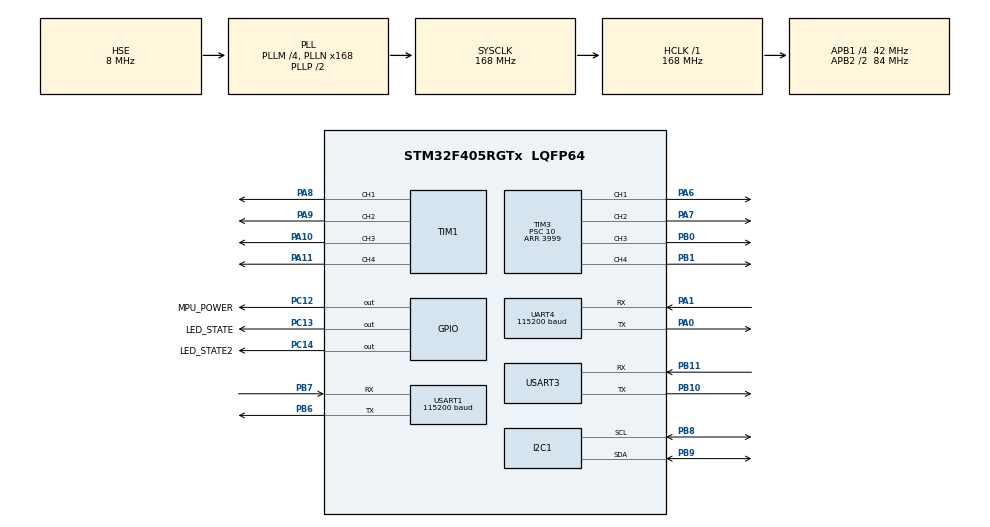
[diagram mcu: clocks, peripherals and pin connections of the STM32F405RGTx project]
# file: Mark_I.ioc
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Dma.I2C1_RX.4.Direction=DMA_PERIPH_TO_MEMORY
Dma.I2C1_RX.4.FIFOMode=DMA_FIFOMODE_DISABLE
Dma.I2C1_RX.4.Instance=DMA1_Stream0
Dma.I2C1_RX.4.MemDataAlignment=DMA_MDATAALIGN_BYTE
Dma.I2C1_RX.4.MemInc=DMA_MINC_ENABLE
Dma.I2C1_RX.4.Mode=DMA_NORMAL
Dma.I2C1_RX.4.PeriphDataAlignment=DMA_PDATAALIGN_BYTE
Dma.I2C1_RX.4.PeriphInc=DMA_PINC_DISABLE
Dma.I2C1_RX.4.Priority=DMA_PRIORITY_LOW
Dma.I2C1_TX.5.Direction=DMA_MEMORY_TO_PERIPH
Dma.I2C1_TX.5.FIFOMode=DMA_FIFOMODE_DISABLE
Dma.I2C1_TX.5.Instance=DMA1_Stream6
Dma.I2C1_TX.5.MemDataAlignment=DMA_MDATAALIGN_BYTE
Dma.I2C1_TX.5.MemInc=DMA_MINC_ENABLE
Dma.I2C1_TX.5.Mode=DMA_NORMAL
Dma.I2C1_TX.5.PeriphDataAlignment=DMA_PDATAALIGN_BYTE
Dma.I2C1_TX.5.PeriphInc=DMA_PINC_DISABLE
Dma.I2C1_TX.5.Priority=DMA_PRIORITY_LOW
Dma.Request0=UART4_RX
Dma.Request1=UART4_TX
Dma.Request2=USART1_RX
Dma.Request3=USART1_TX
Dma.Request4=I2C1_RX
Dma.Request5=I2C1_TX
Dma.Request6=USART3_RX
Dma.Request7=USART3_TX
Dma.UART4_RX.0.Direction=DMA_PERIPH_TO_MEMORY
Dma.UART4_RX.0.FIFOMode=DMA_FIFOMODE_DISABLE
Dma.UART4_RX.0.Instance=DMA1_Stream2
Dma.UART4_RX.0.MemDataAlignment=DMA_MDATAALIGN_BYTE
Dma.UART4_RX.0.MemInc=DMA_MINC_ENABLE
Dma.UART4_RX.0.Mode=DMA_CIRCULAR
Dma.UART4_RX.0.PeriphDataAlignment=DMA_PDATAALIGN_BYTE
Dma.UART4_RX.0.PeriphInc=DMA_PINC_DISABLE
Dma.UART4_RX.0.Priority=DMA_PRIORITY_LOW
Dma.UART4_TX.1.Direction=DMA_MEMORY_TO_PERIPH
Dma.UART4_TX.1.FIFOMode=DMA_FIFOMODE_DISABLE
Dma.UART4_TX.1.Instance=DMA1_Stream4
Dma.UART4_TX.1.MemDataAlignment=DMA_MDATAALIGN_BYTE
Dma.UART4_TX.1.MemInc=DMA_MINC_ENABLE
Dma.UART4_TX.1.Mode=DMA_NORMAL
Dma.UART4_TX.1.PeriphDataAlignment=DMA_PDATAALIGN_BYTE
Dma.UART4_TX.1.PeriphInc=DMA_PINC_DISABLE
Dma.UART4_TX.1.Priority=DMA_PRIORITY_LOW
Dma.USART1_RX.2.Direction=DMA_PERIPH_TO_MEMORY
Dma.USART1_RX.2.FIFOMode=DMA_FIFOMODE_DISABLE
Dma.USART1_RX.2.Instance=DMA2_Stream2
Dma.USART1_RX.2.MemDataAlignment=DMA_MDATAALIGN_BYTE
Dma.USART1_RX.2.MemInc=DMA_MINC_ENABLE
Dma.USART1_RX.2.Mode=DMA_CIRCULAR
Dma.USART1_RX.2.PeriphDataAlignment=DMA_PDATAALIGN_BYTE
Dma.USART1_RX.2.PeriphInc=DMA_PINC_DISABLE
Dma.USART1_RX.2.Priority=DMA_PRIORITY_LOW
Dma.USART1_TX.3.Direction=DMA_MEMORY_TO_PERIPH
Dma.USART1_TX.3.FIFOMode=DMA_FIFOMODE_DISABLE
Dma.USART1_TX.3.Instance=DMA2_Stream7
Dma.USART1_TX.3.MemDataAlignment=DMA_MDATAALIGN_BYTE
Dma.USART1_TX.3.MemInc=DMA_MINC_ENABLE
Dma.USART1_TX.3.Mode=DMA_NORMAL
Dma.USART1_TX.3.PeriphDataAlignment=DMA_PDATAALIGN_BYTE
Dma.USART1_TX.3.PeriphInc=DMA_PINC_DISABLE
Dma.USART1_TX.3.Priority=DMA_PRIORITY_LOW
Dma.USART3_RX.6.Direction=DMA_PERIPH_TO_MEMORY
Dma.USART3_RX.6.FIFOMode=DMA_FIFOMODE_DISABLE
Dma.USART3_RX.6.Instance=DMA1_Stream1
Dma.USART3_RX.6.MemDataAlignment=DMA_MDATAALIGN_BYTE
Dma.USART3_RX.6.MemInc=DMA_MINC_ENABLE
Dma.USART3_RX.6.Mode=DMA_CIRCULAR
Dma.USART3_RX.6.PeriphDataAlignment=DMA_PDATAALIGN_BYTE
Dma.USART3_RX.6.PeriphInc=DMA_PINC_DISABLE
Dma.USART3_RX.6.Priority=DMA_PRIORITY_LOW
Dma.USART3_TX.7.Direction=DMA_MEMORY_TO_PERIPH
Dma.USART3_TX.7.FIFOMode=DMA_FIFOMODE_DISABLE
Dma.USART3_TX.7.Instance=DMA1_Stream3
Dma.USART3_TX.7.MemDataAlignment=DMA_MDATAALIGN_BYTE
Dma.USART3_TX.7.MemInc=DMA_MINC_ENABLE
Dma.USART3_TX.7.Mode=DMA_NORMAL
Dma.USART3_TX.7.PeriphDataAlignment=DMA_PDATAALIGN_BYTE
Dma.USART3_TX.7.PeriphInc=DMA_PINC_DISABLE
Dma.USART3_TX.7.Priority=DMA_PRIORITY_LOW
I2C1.I2C_Mode=I2C_Fast
Mcu.Family=STM32F4
Mcu.Name=STM32F405RGTx
Mcu.Package=LQFP64
NVIC.DMA1_Stream0_IRQn=true\:0\:0\:false\:false\:true\:false\:true\:true
NVIC.DMA1_Stream1_IRQn=true\:0\:0\:false\:false\:true\:false\:true\:true
NVIC.DMA1_Stream2_IRQn=true\:0\:0\:false\:false\:true\:false\:true\:true
NVIC.DMA1_Stream3_IRQn=true\:0\:0\:false\:false\:true\:false\:true\:true
NVIC.DMA1_Stream4_IRQn=true\:0\:0\:false\:false\:true\:false\:true\:true
NVIC.DMA1_Stream6_IRQn=true\:0\:0\:false\:false\:true\:false\:true\:true
NVIC.DMA2_Stream2_IRQn=true\:0\:0\:false\:false\:true\:false\:true\:true
NVIC.DMA2_Stream7_IRQn=true\:0\:0\:false\:false\:true\:false\:true\:true
NVIC.I2C1_ER_IRQn=true\:0\:0\:false\:false\:true\:true\:true\:true
NVIC.I2C1_EV_IRQn=true\:0\:0\:false\:false\:true\:true\:true\:true
NVIC.PriorityGroup=NVIC_PRIORITYGROUP_4
NVIC.UART4_IRQn=true\:0\:0\:false\:false\:true\:true\:true\:true
NVIC.USART1_IRQn=true\:0\:0\:false\:false\:true\:true\:true\:true
NVIC.USART3_IRQn=true\:0\:0\:false\:false\:true\:true\:true\:true
PA0-WKUP.Mode=Asynchronous
PA0-WKUP.Signal=UART4_TX
PA1.Mode=Asynchronous
PA1.Signal=UART4_RX
PA10.Signal=S_TIM1_CH3
PA11.Signal=S_TIM1_CH4
PA13.Mode=Trace_Asynchronous_SW
PA13.Signal=SYS_JTMS-SWDIO
PA14.Mode=Trace_Asynchronous_SW
PA14.Signal=SYS_JTCK-SWCLK
PA6.Signal=S_TIM3_CH1
PA7.Signal=S_TIM3_CH2
PA8.Signal=S_TIM1_CH1
PA9.Signal=S_TIM1_CH2
PB0.Signal=S_TIM3_CH3
PB1.Signal=S_TIM3_CH4
PB10.Mode=Asynchronous
PB10.Signal=USART3_TX
PB11.Mode=Asynchronous
PB11.Signal=USART3_RX
PB3.Mode=Trace_Asynchronous_SW
PB3.Signal=SYS_JTDO-SWO
PB6.Mode=Asynchronous
PB6.Signal=USART1_TX
PB7.Mode=Asynchronous
PB7.Signal=USART1_RX
PB8.Mode=I2C
PB8.Signal=I2C1_SCL
PB9.Mode=I2C
PB9.Signal=I2C1_SDA
PC12.GPIO_Label=MPU_POWER
PC12.Signal=GPIO_Output
PC13-ANTI_TAMP.GPIO_Label=LED_STATE
PC13-ANTI_TAMP.Signal=GPIO_Output
PC14-OSC32_IN.GPIO_Label=LED_STATE2
PC14-OSC32_IN.Signal=GPIO_Output
PH0-OSC_IN.Mode=HSE-External-Oscillator
PH0-OSC_IN.Signal=RCC_OSC_IN
PH1-OSC_OUT.Mode=HSE-External-Oscillator
PH1-OSC_OUT.Signal=RCC_OSC_OUT
ProjectManager.HeapSize=0x200
ProjectManager.StackSize=0x400
ProjectManager.TargetToolchain=STM32CubeIDE
RCC.48MHZClocksFreq_Value=84000000
RCC.AHBFreq_Value=168000000
RCC.APB1CLKDivider=RCC_HCLK_DIV4
RCC.APB1Freq_Value=42000000
RCC.APB1TimFreq_Value=84000000
RCC.APB2CLKDivider=RCC_HCLK_DIV2
RCC.APB2Freq_Value=84000000
RCC.APB2TimFreq_Value=168000000
RCC.CortexFreq_Value=168000000
RCC.EnbaleCSS=true
RCC.HCLKFreq_Value=168000000
RCC.HSE_VALUE=8000000
RCC.HSI_VALUE=16000000
RCC.LSE_VALUE=32768
RCC.PLLM=4
RCC.PLLN=168
RCC.PLLSourceVirtual=RCC_PLLSOURCE_HSE
RCC.SYSCLKFreq_VALUE=168000000
RCC.SYSCLKSource=RCC_SYSCLKSOURCE_PLLCLK
RCC.VCOOutputFreq_Value=336000000
SH.S_TIM1_CH1.0=TIM1_CH1,PWM Generation1 CH1
SH.S_TIM1_CH2.0=TIM1_CH2,PWM Generation2 CH2
SH.S_TIM1_CH3.0=TIM1_CH3,PWM Generation3 CH3
SH.S_TIM1_CH4.0=TIM1_CH4,PWM Generation4 CH4
SH.S_TIM3_CH1.0=TIM3_CH1,PWM Generation1 CH1
SH.S_TIM3_CH2.0=TIM3_CH2,PWM Generation2 CH2
SH.S_TIM3_CH3.0=TIM3_CH3,PWM Generation3 CH3
SH.S_TIM3_CH4.0=TIM3_CH4,PWM Generation4 CH4
TIM1.Channel-PWM\ Generation1\ CH1=TIM_CHANNEL_1
TIM1.Channel-PWM\ Generation2\ CH2=TIM_CHANNEL_2
TIM1.Channel-PWM\ Generation3\ CH3=TIM_CHANNEL_3
TIM1.Channel-PWM\ Generation4\ CH4=TIM_CHANNEL_4
TIM10.AutoReloadPreload=TIM_AUTORELOAD_PRELOAD_ENABLE
TIM10.Prescaler=167
TIM11.AutoReloadPreload=TIM_AUTORELOAD_PRELOAD_ENABLE
TIM11.Prescaler=167
TIM3.AutoReloadPreload=TIM_AUTORELOAD_PRELOAD_ENABLE
TIM3.Channel-PWM\ Generation1\ CH1=TIM_CHANNEL_1
TIM3.Channel-PWM\ Generation2\ CH2=TIM_CHANNEL_2
TIM3.Channel-PWM\ Generation3\ CH3=TIM_CHANNEL_3
TIM3.Channel-PWM\ Generation4\ CH4=TIM_CHANNEL_4
TIM3.OCMode_PWM-PWM\ Generation2\ CH2=TIM_OCMODE_PWM1
TIM3.OCMode_PWM-PWM\ Generation3\ CH3=TIM_OCMODE_PWM1
TIM3.Period=3999
TIM3.Prescaler=10
TIM3.Pulse-PWM\ Generation1\ CH1=999
TIM3.Pulse-PWM\ Generation2\ CH2=999
TIM3.Pulse-PWM\ Generation3\ CH3=999
TIM3.Pulse-PWM\ Generation4\ CH4=999
TIM9.AutoReloadPreload=TIM_AUTORELOAD_PRELOAD_ENABLE
TIM9.Prescaler=167
UART4.BaudRate=115200
UART4.VirtualMode=Asynchronous
USART1.BaudRate=115200
USART1.VirtualMode=VM_ASYNC
USART3.VirtualMode=VM_ASYNC
VP_TIM10_VS_ClockSourceINT.Mode=Enable_Timer
VP_TIM11_VS_ClockSourceINT.Mode=Enable_Timer
VP_TIM1_VS_ClockSourceINT.Mode=Internal
VP_TIM3_VS_ClockSourceINT.Mode=Internal
VP_TIM9_VS_ClockSourceINT.Mode=Internal
board=custom

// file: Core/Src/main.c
/* USER CODE BEGIN Header */
/**
  ******************************************************************************
  * @file           : main.c
  * @brief          : Main program body
  ******************************************************************************
  * @attention
  *
  * <h2><center>&copy; Copyright (c) 2021 STMicroelectronics.
  * All rights reserved.</center></h2>
  *
  * This software component is licensed by ST under BSD 3-Clause license,
  * the "License"; You may not use this file except in compliance with the
  * License. You may obtain a copy of the License at:
  *                        opensource.org/licenses/BSD-3-Clause
  *
  ******************************************************************************
  */
/* USER CODE END Header */
#include "main.h"
#include "dma.h"
#include "i2c.h"
#include "tim.h"
#include "usart.h"
#include "gpio.h"

/* USER CODE BEGIN Includes */
#include "../Peripherals/Uart.h"
#include "../Data_Logger/Data_logger.h"
#include "../Sensors/Mpu.h"
#include "../Complementary_Filter/Complementary_Filter.h"
#include "../Radio/Radio.h"
#include "../Peripherals/Timer.h"
#include "../Motors/Motors.h"
#include "../Task_Manager/Task_Manager.h"
#include "../Controller/Controller.h"
#include "../High_Level/High_Level.h"
#include "../Led/Led.h"
#include "../Supervisor/Supervisor.h"
#include "../System/Orientation.h"
/* USER CODE END Includes */

void SystemClock_Config(void);

int main(void)
{

  /* MCU Configuration--------------------------------------------------------*/

  /* Reset of all peripherals, Initializes the Flash interface and the Systick. */
  HAL_Init();

  /* Configure the system clock */
  SystemClock_Config();

  /* Initialize all configured peripherals */
  MX_GPIO_Init();
  MX_DMA_Init();
  MX_UART4_Init();
  MX_USART1_UART_Init();
  MX_TIM3_Init();
  MX_I2C1_Init();
  MX_USART3_UART_Init();
  MX_TIM1_Init();
  MX_TIM9_Init();
  MX_TIM10_Init();
  MX_TIM11_Init();
  /* USER CODE BEGIN 2 */
  /* Wait for everyone to start */
  HAL_Delay(15);
  /* Peripherals initialization */
  UART_Init();
  /* Task definition 	Name						Init process					Main process						1ms it process						Gyro data callback process */
  TASK_MANAGER_Add_Task("Gyro", 					MPU_Init, 						NULL, 								MPU_Process_Ms,  					NULL);
  TASK_MANAGER_Add_Task("Orientation", 				ORIENTATION_Init, 				NULL, 								ORIENTATION_Process_Ms,				ORIENTATION_Process_Gyro_Callback);
  TASK_MANAGER_Add_Task("ComplementaryFilter", 		COMPLEMENTARY_FILTER_Init, 		NULL, 								NULL,								COMPLEMENTARY_FILTER_Process);
  TASK_MANAGER_Add_Task("Controller", 				CONTROLLER_Init, 				NULL, 								CONTROLLER_Process_ms, 				CONTROLLER_Process_Gyro);
  TASK_MANAGER_Add_Task("Motors",					MOTOR_Init, 					NULL,								MOTOR_Process_Ms, 					MOTOR_Process_Gyro);
  TASK_MANAGER_Add_Task("Radio", 					RADIO_Process_Init, 			RADIO_Process_Main, 				NULL, 								NULL);
  TASK_MANAGER_Add_Task("Data Logger", 				DATA_LOGGER_Init, 				DATA_LOGGER_Main, 					NULL, 								NULL);
  TASK_MANAGER_Add_Task("High Level", 				HIGH_LEVEL_Init, 				HIGH_LEVEL_Process_Main, 			HIGH_LEVEL_Process_Ms, 				NULL);
  TASK_MANAGER_Add_Task("Led", 						NULL, 							NULL, 								LED_Process_ms, 					NULL);
  TASK_MANAGER_Add_Task("Supervisor", 				NULL, 							NULL, 								SUPERVISOR_Process_Ms,				NULL);

  /* System initialization */
  TASK_MANAGER_Init();
  /* USER CODE END 2 */

  /* Infinite loop */
  /* USER CODE BEGIN WHILE */
  while (1)
  {
	  TASK_MANAGER_Main();
    /* USER CODE END WHILE */

  }
}

void SystemClock_Config(void)
{
  RCC_OscInitTypeDef RCC_OscInitStruct = {0};
  RCC_ClkInitTypeDef RCC_ClkInitStruct = {0};

  /** Configure the main internal regulator output voltage
  */
  __HAL_RCC_PWR_CLK_ENABLE();
  __HAL_PWR_VOLTAGESCALING_CONFIG(PWR_REGULATOR_VOLTAGE_SCALE1);

  /** Initializes the RCC Oscillators according to the specified parameters
  * in the RCC_OscInitTypeDef structure.
  */
  RCC_OscInitStruct.OscillatorType = RCC_OSCILLATORTYPE_HSE;
  RCC_OscInitStruct.HSEState = RCC_HSE_ON;
  RCC_OscInitStruct.PLL.PLLState = RCC_PLL_ON;
  RCC_OscInitStruct.PLL.PLLSource = RCC_PLLSOURCE_HSE;
  RCC_OscInitStruct.PLL.PLLM = 4;
  RCC_OscInitStruct.PLL.PLLN = 168;
  RCC_OscInitStruct.PLL.PLLP = RCC_PLLP_DIV2;
  RCC_OscInitStruct.PLL.PLLQ = 4;
  if (HAL_RCC_OscConfig(&RCC_OscInitStruct) != HAL_OK)
  {
    Error_Handler();
  }

  /** Initializes the CPU, AHB and APB buses clocks
  */
  RCC_ClkInitStruct.ClockType = RCC_CLOCKTYPE_HCLK|RCC_CLOCKTYPE_SYSCLK
                              |RCC_CLOCKTYPE_PCLK1|RCC_CLOCKTYPE_PCLK2;
  RCC_ClkInitStruct.SYSCLKSource = RCC_SYSCLKSOURCE_PLLCLK;
  RCC_ClkInitStruct.AHBCLKDivider = RCC_SYSCLK_DIV1;
  RCC_ClkInitStruct.APB1CLKDivider = RCC_HCLK_DIV4;
  RCC_ClkInitStruct.APB2CLKDivider = RCC_HCLK_DIV2;

  if (HAL_RCC_ClockConfig(&RCC_ClkInitStruct, FLASH_LATENCY_5) != HAL_OK)
  {
    Error_Handler();
  }

  /** Enables the Clock Security System
  */
  HAL_RCC_EnableCSS();
}

void Error_Handler(void)
{
  __disable_irq();
  while (1)
  {
  }
}
